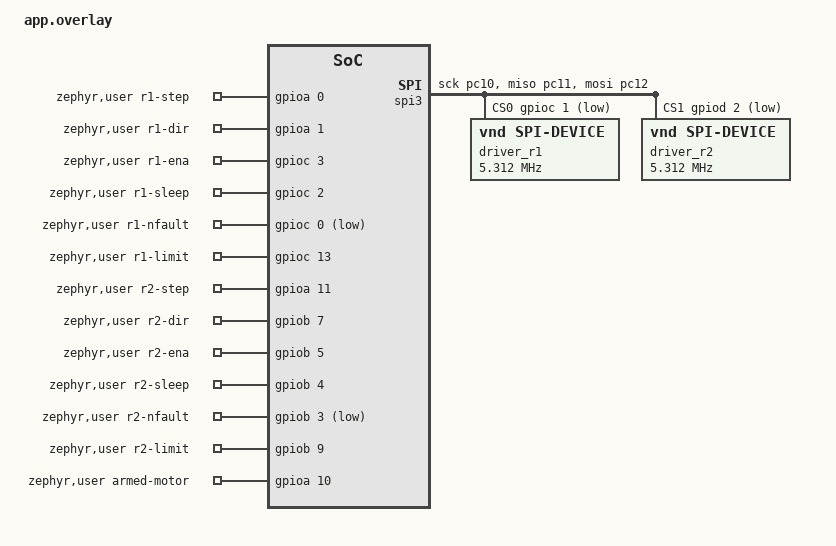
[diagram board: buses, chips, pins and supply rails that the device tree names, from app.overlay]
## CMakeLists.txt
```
cmake_minimum_required(VERSION 3.20)

# also look for boards in xray-f26/boards (where motorboard lives)
list(APPEND BOARD_ROOT ${CMAKE_CURRENT_SOURCE_DIR}/..)

find_package(Zephyr REQUIRED HINTS $ENV{ZEPHYR_BASE})
project(rot_tilt_motor)

target_sources(app PRIVATE
    src/main.c
    src/rot_motor_test.c
)
```

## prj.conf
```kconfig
CONFIG_GPIO=y
CONFIG_SPI=y
CONFIG_CBPRINTF_FP_SUPPORT=y
```

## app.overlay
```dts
/*
 * Motor Board: rotational motors R1 and R2 (pins from MotorBoard.ioc)
 * Testing BOTH motors and BOTH limit switches.
 * Limit switches: HIGH = hit (also HIGH if unplugged, so the motor stops).
 */

/* SPI3 talks to both driver chips. Each driver has its own CS (chip select) pin. */
&spi3 {
    status = "okay";
    pinctrl-0 = <&spi3_sck_pc10 &spi3_miso_pc11 &spi3_mosi_pc12>;
    pinctrl-names = "default";
    cs-gpios = <&gpioc 1 GPIO_ACTIVE_LOW>,    /* CS 0 = R1_CS (PC1) */
               <&gpiod 2 GPIO_ACTIVE_LOW>;    /* CS 1 = R2_CS (PD2) */

    driver_r1: drv8462@0 {
        compatible = "vnd,spi-device";
        reg = <0>;                            /* uses CS 0 */
        spi-max-frequency = <5312500>;
    };

    driver_r2: drv8462@1 {
        compatible = "vnd,spi-device";
        reg = <1>;                            /* uses CS 1 */
        spi-max-frequency = <5312500>;
    };
};

/ {
    zephyr,user {
        /* R1 (tilt) */
        r1-step-gpios   = <&gpioa 0 GPIO_ACTIVE_HIGH>;                   /* PA0  R1_STEP_MCU */
        r1-dir-gpios    = <&gpioa 1 GPIO_ACTIVE_HIGH>;                   /* PA1  R1_DIR */
        r1-ena-gpios    = <&gpioc 3 GPIO_ACTIVE_HIGH>;                   /* PC3  R1_ENABLE */
        r1-sleep-gpios  = <&gpioc 2 GPIO_ACTIVE_HIGH>;                   /* PC2  R1_SLEEP */
        r1-nfault-gpios = <&gpioc 0 (GPIO_ACTIVE_LOW | GPIO_PULL_UP)>;   /* PC0  R1_nFAULT */
        r1-limit-gpios  = <&gpioc 13 (GPIO_ACTIVE_HIGH | GPIO_PULL_UP)>; /* PC13 LIM_R1: HIGH = hit */

        /* R2 (pan) */
        r2-step-gpios   = <&gpioa 11 GPIO_ACTIVE_HIGH>;                  /* PA11 R2_STEP_MCU */
        r2-dir-gpios    = <&gpiob 7 GPIO_ACTIVE_HIGH>;                   /* PB7  R2_DIR */
        r2-ena-gpios    = <&gpiob 5 GPIO_ACTIVE_HIGH>;                   /* PB5  R2_ENABLE */
        r2-sleep-gpios  = <&gpiob 4 GPIO_ACTIVE_HIGH>;                   /* PB4  R2_SLEEP */
        r2-nfault-gpios = <&gpiob 3 (GPIO_ACTIVE_LOW | GPIO_PULL_UP)>;   /* PB3  R2_nFAULT */
        r2-limit-gpios  = <&gpiob 9 (GPIO_ACTIVE_HIGH | GPIO_PULL_UP)>;  /* PB9  LIM_R2: HIGH = hit */

        /* ARMED_MOTOR: driven HIGH at startup */
        armed-motor-gpios = <&gpioa 10 GPIO_ACTIVE_HIGH>;                /* PA10 ARMED_MOTOR */
    };
};
```

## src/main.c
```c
#include <zephyr/kernel.h>
#include <zephyr/drivers/gpio.h>
#include "rot_motors.h"

/*
    TEST: both motors + both limit switches
      R1 spins until LIM_R1 (PC13) reads HIGH -> R1 ENABLE (PC3) goes LOW
      R2 spins until LIM_R2 (PB9)  reads HIGH -> R2 ENABLE (PB5) goes LOW
    Each switch only stops its own motor. Both motors spin at the same time.

    Each switch is watched two ways:
      - an interrupt (stops the motor the instant the pin goes HIGH)
      - a backup check on every step (in case an interrupt is ever missed)

    status LED (PC5):
        on solid   = at least one motor still spinning
        fast blink = both motors stopped (limit hit, or couldn't start)
        slow blink = setup failed
*/
#define R1_AXIS            (&r1_axis)
#define R2_AXIS            (&r2_axis)
#define R1_TOWARD_LIMIT    1        // change to 0 if R1 spins away from its switch
#define R2_TOWARD_LIMIT    1        // change to 0 if R2 spins away from its switch

#define CRUISE_INTERVAL_US 20000    // 50 full steps/s = 15 RPM
#define START_INTERVAL_US  40000    // slower at the very start, then speeds up
#define RAMP_STEPS         15       // steps spent speeding up at the start
#define STEP_PULSE_US      10       // short, clean STEP pulse

#define USER_NODE DT_PATH(zephyr_user)
static const struct gpio_dt_spec armed_motor = GPIO_DT_SPEC_GET(USER_NODE, armed_motor_gpios);
static const struct gpio_dt_spec fw_status_led = GPIO_DT_SPEC_GET(DT_ALIAS(led0), gpios);

/* one callback per switch (they're on different ports: PC13 and PB9) */
static struct gpio_callback r1_limit_cb;
static struct gpio_callback r2_limit_cb;

/* set when a motor should stop (limit hit, or it couldn't start) */
static volatile bool r1_done = false;
static volatile bool r2_done = false;

static void setup_failed(void)
{
    while (true) {                      // slow blink forever = setup failed
        gpio_pin_toggle_dt(&fw_status_led);
        k_msleep(500);
    }
}

/* runs the instant LIM_R1 goes HIGH: stop R1 only */
static void r1_limit_isr(const struct device *port, struct gpio_callback *cb, uint32_t pins)
{
    gpio_pin_set_dt(&R1_AXIS->ena, 0);   // R1 ENABLE (PC3) LOW = R1 driver disabled
    r1_done = true;
}

/* runs the instant LIM_R2 goes HIGH: stop R2 only */
static void r2_limit_isr(const struct device *port, struct gpio_callback *cb, uint32_t pins)
{
    gpio_pin_set_dt(&R2_AXIS->ena, 0);   // R2 ENABLE (PB5) LOW = R2 driver disabled
    r2_done = true;
}

/* hook a limit switch up to its interrupt function */
static void setup_limit(const struct rot_axis *axis, struct gpio_callback *cb,
                        gpio_callback_handler_t isr)
{
    gpio_pin_interrupt_configure_dt(&axis->limit, GPIO_INT_EDGE_TO_ACTIVE);  // fire on LOW -> HIGH
    gpio_init_callback(cb, isr, BIT(axis->limit.pin));
    gpio_add_callback(axis->limit.port, cb);
}

/*
    get one motor ready to spin. returns true if it can move.
    if its switch is already HIGH, or the driver won't turn on, that motor
    just stays still and the other one keeps testing.
*/
static bool start_axis(const struct rot_axis *axis, int dir)
{
    if (gpio_pin_get_dt(&axis->limit) == 1) {
        printk("%s: limit switch already HIGH at startup, not moving\n", axis->name);
        return false;
    }
    if (rot_axis_enable(axis) != 0) {
        printk("%s: failed to enable, not moving\n", axis->name);
        return false;
    }
    gpio_pin_set_dt(&axis->dir, dir);
    return true;
}

/* how long to wait for step i: slow at the start, speeding up to cruise */
static uint32_t step_interval_us(int i)
{
    if (i >= RAMP_STEPS) {
        return CRUISE_INTERVAL_US;
    }
    return START_INTERVAL_US - (START_INTERVAL_US - CRUISE_INTERVAL_US) * i / RAMP_STEPS;
}

int main(void)
{
    gpio_pin_configure_dt(&fw_status_led, GPIO_OUTPUT_INACTIVE);

    // ARMED_MOTOR (PA10) high before anything else
    if (!gpio_is_ready_dt(&armed_motor)) setup_failed();
    gpio_pin_configure_dt(&armed_motor, GPIO_OUTPUT_ACTIVE);
    k_msleep(5);

    // set up both motors' pins (asleep, disabled)
    if (rot_axis_setup(R1_AXIS) != 0) setup_failed();
    if (rot_axis_setup(R2_AXIS) != 0) setup_failed();

    // turn on each motor that can move
    r1_done = !start_axis(R1_AXIS, R1_TOWARD_LIMIT);
    r2_done = !start_axis(R2_AXIS, R2_TOWARD_LIMIT);

    // both limit switches watch for HIGH from now on
    setup_limit(R1_AXIS, &r1_limit_cb, r1_limit_isr);
    setup_limit(R2_AXIS, &r2_limit_cb, r2_limit_isr);

    k_busy_wait(1000);   // DIR settles before the first step
    printk("Spinning until each limit switch reads HIGH...\n");
    gpio_pin_set_dt(&fw_status_led, 1);   // solid on = spinning

    int i = 0;                       // step counter, used for the speed-up ramp
    int r1_steps = 0, r2_steps = 0;
    bool r1_reported = r1_done, r2_reported = r2_done;

    // keep going while at least one motor is still spinning
    while (!r1_done || !r2_done) {
        // backup check: read the switches directly every step too,
        // in case an interrupt is ever missed
        if (!r1_done && gpio_pin_get_dt(&R1_AXIS->limit) == 1) {
            gpio_pin_set_dt(&R1_AXIS->ena, 0);   // R1 ENABLE (PC3) LOW
            r1_done = true;
        }
        if (!r2_done && gpio_pin_get_dt(&R2_AXIS->limit) == 1) {
            gpio_pin_set_dt(&R2_AXIS->ena, 0);   // R2 ENABLE (PB5) LOW
            r2_done = true;
        }

        bool step_r1 = !r1_done;
        bool step_r2 = !r2_done;
        uint32_t interval = step_interval_us(i);

        // one step for each motor that's still going, at the same time
        if (step_r1) gpio_pin_set_dt(&R1_AXIS->step, 1);
        if (step_r2) gpio_pin_set_dt(&R2_AXIS->step, 1);
        k_busy_wait(STEP_PULSE_US);
        gpio_pin_set_dt(&R1_AXIS->step, 0);
        gpio_pin_set_dt(&R2_AXIS->step, 0);
        k_busy_wait(interval - STEP_PULSE_US);

        if (step_r1) r1_steps++;
        if (step_r2) r2_steps++;
        i++;

        // report each limit hit once, outside the interrupt
        if (r1_done && !r1_reported) {
            printk("R1 LIMIT HIT after %d steps: R1 ENABLE is LOW\n", r1_steps);
            r1_reported = true;
        }
        if (r2_done && !r2_reported) {
            printk("R2 LIMIT HIT after %d steps: R2 ENABLE is LOW\n", r2_steps);
            r2_reported = true;
        }
    }

    // backup: make sure both ENABLE pins are LOW
    gpio_pin_set_dt(&R1_AXIS->ena, 0);
    gpio_pin_set_dt(&R2_AXIS->ena, 0);
    printk("Both motors stopped (R1: %d steps, R2: %d steps)\n", r1_steps, r2_steps);

    while (true) {                      // fast blink forever = both stopped
        gpio_pin_toggle_dt(&fw_status_led);
        k_msleep(100);
    }

    return 0;
}
```

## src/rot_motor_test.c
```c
/*
 * rot_motor_test.c - the two rotational motors (R1, R2) on the Motor Board
 *
 * Same structure as motors.c for X/Y/Z on the Main Board:
 *   - SPI is only used at startup, to set up the driver chip (stepping mode,
 *     current, outputs on). It replaces the DIP switches on the DM542T.
 *   - Moving the motor is still STEP / DIR pins, exactly like the DM542T.
 *
 * Currently set to FULL STEPPING (200 steps per rev, 1.8 deg per step).
 */

#include <zephyr/kernel.h>
#include <zephyr/drivers/gpio.h>
#include <zephyr/drivers/spi.h>
#include <math.h>
#include "rot_motors.h"

/*
    step timing:
    pulses must be long enough for the driver to see them
    DIR needs to be set a little before stepping
*/
#define DIR_SETUP_US          1000
#define STEP_PULSE_US         10      // how long STEP stays high each step (short, clean pulse)

/*
    speed limits + acceleration ramp
    every move starts slow, speeds up over RAMP_STEPS, cruises, then slows down
    over the last RAMP_STEPS before stopping. Starting or stopping at full speed
    is what makes a stepper jerk, stall, or skip.

    (full stepping: 200 steps per rev)
      20000 us per step =  50 steps/s = 15 RPM   (start / stop speed)
       8000 us per step = 125 steps/s = 37.5 RPM
       4000 us per step = 250 steps/s = 75 RPM   (fastest allowed)
*/
#define START_INTERVAL_US     20000   // speed at the very start and end of every move
#define MIN_STEP_INTERVAL_US  4000    // max speed cap: anything faster is slowed to this
#define RAMP_STEPS            15      // steps spent speeding up, and again slowing down
#define SETTLE_MS             200     // pause after every move so the motor stops shaking

/* driver registers (same chip and same values as the X/Y/Z drivers) */
#define DRV_REG_FAULT    0x00   // FAULT register, bit 7 = any fault
#define DRV_REG_CTRL1    0x04   // EN_OUT lives in bit 7
#define DRV_REG_CTRL2    0x05   // stepping mode in bits 0-3
#define DRV_REG_CTRL9    0x0C   // EN_AUTO (auto microstepping) in bit 0
#define DRV_REG_CTRL10   0x0D   // ISTSL: holding current
#define DRV_REG_CTRL11   0x0E   // TRQ_DAC: the current dial (0-255)
#define DRV_REG_CTRL12   0x0F   // EN_STSL (bit 7) + TSTSL_FALL (bits 6-3): standstill power saving
#define DRV_REG_CTRL13   0x10   // TSTSL_DLY (bits 7-2) + VREF_INT_EN (bit 1)
#define DRV_READ_BIT     (1u << 14)   // bit 14 = 1 means read

#define CTRL1_DEFAULT    0x0F   // TOFF / DECAY datasheet defaults
#define EN_OUT_BIT       0x80   // turns the motor outputs on inside the chip
#define MICROSTEP_FULL   0x01   // full stepping with 71% current (0x00 = 100% in BOTH coils = much hotter)
#define EN_AUTO_OFF      0x00   // auto microstepping off, so it really does full steps
#define CTRL13_VREF_INT  0x12   // internal 3.3V reference on (bit 1) + TSTSL_DLY = 4 -> 64 ms delay
#define CTRL12_STSL_ON   0x88   // EN_STSL = 1 (bit 7) + TSTSL_FALL = 1 ms per current step (bits 6-3)
#define FAULT_ANY_BIT    0x80

/*
    current for the rotational motors (datasheet 7.3.8 / 7.3.9, internal 3.3 V reference):
        current (A) = 3.3 V x (TRQ_DAC + 1) / 256 / KV
        KV = 0.66 V/A for the DDW package -> 5 A at TRQ_DAC = 255
        KV = 0.33 V/A for the DDV package -> 10 A at TRQ_DAC = 255

    the old 0x80 was ~2.5 A (DDW) or ~5 A (DDV): way above the tilt motor's 1.5 A,
    which is why the motor and driver got hot.

    0x25 = 14.8%  -> ~0.74 A on DDW, ~1.48 A on DDV  (safe on either package)
    !! ask the EE which package is on the board. If it's DDW, raise it to 0x4B (~1.48 A).
*/
#define ROT_TRQ_DAC      0x25

/*
    holding current: once the motor stops, the driver lowers the current to this
    (standstill power saving). 75% of the run current, so the tilt still holds
    the RadEye against gravity. Lower it if the motor holds fine; raise it if it sags.
*/
#define ROT_ISTSL        ((ROT_TRQ_DAC * 3) / 4)

/*
    motor --> 200 full steps per rev, full stepping = 200 steps per rev
    GEAR_RATIO = motor turns per output turn (1.0 = direct drive)
*/
#define FULL_STEPS_PER_REV 200
#define MICROSTEPS         1      // full stepping: 1 pulse = 1 full step = 1.8 deg
#define STEPS_PER_REV      (FULL_STEPS_PER_REV * MICROSTEPS)
#define GEAR_RATIO         1.0
#define STEPS_PER_DEG      (STEPS_PER_REV * GEAR_RATIO / 360.0)   // 0.56 steps per degree

/* SPI settings: 16-bit messages, most significant bit first, mode 1 (same as X/Y/Z) */
#define DRI_SPI_SET (SPI_OP_MODE_MASTER | SPI_WORD_SET(16) | SPI_TRANSFER_MSB | SPI_MODE_CPHA)

/*
GRAB DEM DEVICE TREE OVERLAY!!!! (pins come from app.overlay)
*/
#define USER_NODE DT_PATH(zephyr_user)


/* ---------- talking to the driver over SPI ---------- */

static int drv_write_reg(const struct rot_axis *axis, uint8_t addy, uint8_t value)
{
    // bits 13-8 = register address, bits 7-0 = the value. bits 14 & 15 stay 0 = write
    uint16_t tx = ((addy & 0x3F) << 8) | value;

    struct spi_buf buf = { .buf = &tx, .len = sizeof(tx) };       // one message
    struct spi_buf_set tx_set = { .buffers = &buf, .count = 1 };  // a stack of 1 message

    // Zephyr pulls this driver's CS pin low, clocks out the 16 bits, then lets CS go high
    return spi_write_dt(&axis->spi, &tx_set);
}

static int drv_read_reg(const struct rot_axis *axis, uint8_t addy, uint8_t *value)
{
    // bit 14 = 1 means read, bits 13-8 = address, bits 7-0 = 0
    uint16_t tx = DRV_READ_BIT | ((addy & 0x3F) << 8);
    uint16_t rx = 0;                                              // the driver's reply lands here

    struct spi_buf tx_buf = { .buf = &tx, .len = sizeof(tx) };
    struct spi_buf rx_buf = { .buf = &rx, .len = sizeof(rx) };
    struct spi_buf_set tx_set = { .buffers = &tx_buf, .count = 1 };
    struct spi_buf_set rx_set = { .buffers = &rx_buf, .count = 1 };

    // send and receive at the same time: SPI always swaps bits both ways
    int ret = spi_transceive_dt(&axis->spi, &tx_set, &rx_set);

    *value = rx & 0xFF;   // the register's value is in the bottom 8 bits
    return ret;
}

/* the "DIP switches", but set over SPI */
static int drv_configure(const struct rot_axis *axis)
{
    uint8_t value;

    // full stepping (like setting the DM542T to 200 pulses/rev)
    if (drv_write_reg(axis, DRV_REG_CTRL2, MICROSTEP_FULL) != 0) {
        printk("ERROR! %s failed to set full stepping \n", axis->name);
        return -1;
    }

    // auto microstepping OFF, so the chip really does full steps
    if (drv_write_reg(axis, DRV_REG_CTRL9, EN_AUTO_OFF) != 0) {
        printk("ERROR! %s failed to set CTRL9 \n", axis->name);
        return -1;
    }

    drv_write_reg(axis, DRV_REG_CTRL11, axis->trq_dac);   // moving current (like SW1-SW3)
    drv_write_reg(axis, DRV_REG_CTRL10, ROT_ISTSL);       // lower holding current (like SW4 off)
    drv_write_reg(axis, DRV_REG_CTRL13, CTRL13_VREF_INT); // internal reference + 64 ms standstill delay
    drv_write_reg(axis, DRV_REG_CTRL12, CTRL12_STSL_ON);  // standstill power saving ON:
                                                          // 64 ms after the last step, current drops
                                                          // from TRQ_DAC to ISTSL automatically

    // read the current back AFTER writing it: if it matches, SPI to this driver works
    drv_read_reg(axis, DRV_REG_CTRL11, &value);
    if (value != axis->trq_dac) {
        printk("ERROR! %s current readback 0x%02X (SPI not working?) \n", axis->name, value);
        return -1;
    }

    printk("%s is configured (full stepping, 71%% current, standstill saving on) \n", axis->name);
    return 0;
}


/* ---------- the two motors (pins + SPI from app.overlay) ---------- */

const struct rot_axis r1_axis = {
    .name = "R1",
    .step = GPIO_DT_SPEC_GET(USER_NODE, r1_step_gpios),
    .dir = GPIO_DT_SPEC_GET(USER_NODE, r1_dir_gpios),
    .ena = GPIO_DT_SPEC_GET(USER_NODE, r1_ena_gpios),
    .sleep = GPIO_DT_SPEC_GET(USER_NODE, r1_sleep_gpios),
    .nfault = GPIO_DT_SPEC_GET(USER_NODE, r1_nfault_gpios),
    .limit = GPIO_DT_SPEC_GET(USER_NODE, r1_limit_gpios),
    .spi = SPI_DT_SPEC_GET(DT_NODELABEL(driver_r1), DRI_SPI_SET),
    .trq_dac = ROT_TRQ_DAC,
};

const struct rot_axis r2_axis = {
    .name = "R2",
    .step = GPIO_DT_SPEC_GET(USER_NODE, r2_step_gpios),
    .dir = GPIO_DT_SPEC_GET(USER_NODE, r2_dir_gpios),
    .ena = GPIO_DT_SPEC_GET(USER_NODE, r2_ena_gpios),
    .sleep = GPIO_DT_SPEC_GET(USER_NODE, r2_sleep_gpios),
    .nfault = GPIO_DT_SPEC_GET(USER_NODE, r2_nfault_gpios),
    .limit = GPIO_DT_SPEC_GET(USER_NODE, r2_limit_gpios),
    .spi = SPI_DT_SPEC_GET(DT_NODELABEL(driver_r2), DRI_SPI_SET),
    .trq_dac = ROT_TRQ_DAC,
};


/* ---------- pin setup ---------- */

int rot_axis_setup(const struct rot_axis *axis)
{
    if (!gpio_is_ready_dt(&axis->step) ||
        !gpio_is_ready_dt(&axis->dir) ||
        !gpio_is_ready_dt(&axis->ena) ||
        !gpio_is_ready_dt(&axis->sleep) ||
        !gpio_is_ready_dt(&axis->nfault) ||
        !gpio_is_ready_dt(&axis->limit)) {
        printk("ERROR! %s GPIO PORT IS NOT READY\n", axis->name);
        return -1;
    }

    if (!spi_is_ready_dt(&axis->spi)) {
        printk("ERROR! %s SPI PORT IS NOT READY\n", axis->name);
        return -1;
    }

    // outputs start OFF (asleep, disabled, no step)
    gpio_pin_configure_dt(&axis->step, GPIO_OUTPUT_INACTIVE);
    gpio_pin_configure_dt(&axis->dir, GPIO_OUTPUT_INACTIVE);
    gpio_pin_configure_dt(&axis->ena, GPIO_OUTPUT_INACTIVE);
    gpio_pin_configure_dt(&axis->sleep, GPIO_OUTPUT_INACTIVE);

    // inputs: fault from the driver, limit switch
    gpio_pin_configure_dt(&axis->nfault, GPIO_INPUT);
    gpio_pin_configure_dt(&axis->limit, GPIO_INPUT);

    printk("%s is ready \n", axis->name);
    return 0;
}


/* ---------- wake up + configure + turn on ---------- */

int rot_axis_enable(const struct rot_axis *axis)
{
    uint8_t value;

    gpio_pin_set_dt(&axis->sleep, 1);   // WAKE UPPP
    k_msleep(2);                        // give the chip time to wake before SPI

    if (drv_configure(axis) != 0) {
        printk("ERROR! %s failed to configure \n", axis->name);
        return -1;
    }

    // nFAULT is active low, so 1 here means FAULT
    if (gpio_pin_get_dt(&axis->nfault) == 1) {
        printk("ERROR! %s has a fault \n", axis->name);
        return -1;
    }

    drv_write_reg(axis, DRV_REG_CTRL1, EN_OUT_BIT | CTRL1_DEFAULT);   // outputs on inside the chip
    gpio_pin_set_dt(&axis->ena, 1);                                  // and the physical ENABLE pin

    // read everything back to make sure the driver really took the settings
    drv_read_reg(axis, DRV_REG_CTRL1, &value);
    if (value != (EN_OUT_BIT | CTRL1_DEFAULT)) {
        printk("ERROR! %s CTRL1 readback 0x%02X \n", axis->name, value);
        return -1;
    }
    drv_read_reg(axis, DRV_REG_CTRL11, &value);
    if (value != axis->trq_dac) {
        printk("ERROR! %s current readback 0x%02X \n", axis->name, value);
        return -1;
    }
    drv_read_reg(axis, DRV_REG_CTRL13, &value);
    if (value != CTRL13_VREF_INT) {
        printk("ERROR! %s CTRL13 readback 0x%02X \n", axis->name, value);
        return -1;
    }
    drv_read_reg(axis, DRV_REG_FAULT, &value);
    if (value & FAULT_ANY_BIT) {
        printk("ERROR! %s FAULT register 0x%02X \n", axis->name, value);
        return -1;
    }

    printk("%s is enabled \n", axis->name);
    return 0;
}


/* ---------- full low-power: sleep ---------- */

/*
    turns the motor completely OFF: outputs off, driver asleep (uses ~3 uA).
    !! the motor no longer holds its position. On the tilt axis, gravity can
    !! swing the RadEye down, so only use this when the axis is parked/supported.
    call rot_axis_enable() again to wake it up (it re-sends all the settings).
*/
void rot_axis_sleep(const struct rot_axis *axis)
{
    gpio_pin_set_dt(&axis->ena, 0);     // ENABLE pin off
    gpio_pin_set_dt(&axis->sleep, 0);   // nSLEEP low = sleep mode
    printk("%s is asleep \n", axis->name);
}


/* ---------- moving ---------- */

/*
    how long to wait for step number i out of total steps.
    near the start and end of the move it's slower (bigger interval),
    in the middle it's the cruise speed you asked for.
*/
static uint32_t ramp_interval_us(int i, int total, uint32_t cruise_us)
{
    int from_edge = MIN(i, total - 1 - i);   // how many steps from the nearest end of the move

    if (cruise_us >= START_INTERVAL_US || from_edge >= RAMP_STEPS) {
        return cruise_us;                    // already slow, or in the middle: cruise speed
    }

    // slide from START_INTERVAL_US (slow) down to cruise_us (fast) over RAMP_STEPS
    return START_INTERVAL_US - (START_INTERVAL_US - cruise_us) * from_edge / RAMP_STEPS;
}

// steps = how many steps, dir = 1 or 0, step_interval_us = cruise time per step (bigger = slower)
int rot_axis_move(const struct rot_axis *axis, int steps, int dir, uint32_t step_interval_us)
{
    // max speed cap: never go faster than MIN_STEP_INTERVAL_US per step
    if (step_interval_us < MIN_STEP_INTERVAL_US) {
        printk("%s: %u us per step is too fast, using %u us\n",
               axis->name, step_interval_us, MIN_STEP_INTERVAL_US);
        step_interval_us = MIN_STEP_INTERVAL_US;
    }

    // set the direction while the motor is stopped, then wait before the first step
    gpio_pin_set_dt(&axis->dir, dir);
    k_busy_wait(DIR_SETUP_US);

    for (int i = 0; i < steps; i++) {
        uint32_t interval = ramp_interval_us(i, steps, step_interval_us);

        gpio_pin_set_dt(&axis->step, 1);              // short, clean pulse
        k_busy_wait(STEP_PULSE_US);
        gpio_pin_set_dt(&axis->step, 0);
        k_busy_wait(interval - STEP_PULSE_US);        // rest of the step time
    }

    // let the motor fully stop and stop shaking before anything else happens
    // (most important before a direction change)
    k_msleep(SETTLE_MS);

    return steps;
}

// same as rot_axis_move, but in degrees. + is one way, - is the other
int rot_axis_move_deg(const struct rot_axis *axis, double degrees, uint32_t step_interval_us)
{
    int steps = (int)(fabs(degrees) * STEPS_PER_DEG + 0.5);   // degrees -> steps, rounded
    int dir = (degrees >= 0) ? 1 : 0;

    return rot_axis_move(axis, steps, dir, step_interval_us);
}
```

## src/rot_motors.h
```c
#ifndef ROT_MOTORS_H
#define ROT_MOTORS_H

#include <zephyr/drivers/gpio.h>
#include <zephyr/drivers/spi.h>

/* what is in each rotational motor (same idea as struct axis in motors.h) */
struct rot_axis {
    const char *name;
    struct gpio_dt_spec step;
    struct gpio_dt_spec dir;
    struct gpio_dt_spec ena;
    struct gpio_dt_spec sleep;
    struct gpio_dt_spec nfault;
    struct gpio_dt_spec limit;
    struct spi_dt_spec  spi;     /* SPI type, not GPIO! */
    uint8_t trq_dac;             /* current dial for THIS motor (0-255), see rot_motors.c */
};

/* the two rotational motors on the Motor Board */
extern const struct rot_axis r1_axis;
extern const struct rot_axis r2_axis;

int rot_axis_setup(const struct rot_axis *axis);

int rot_axis_enable(const struct rot_axis *axis);

int rot_axis_move(const struct rot_axis *axis, int steps, int dir, uint32_t step_interval_us);

int rot_axis_move_deg(const struct rot_axis *axis, double degrees, uint32_t step_interval_us);

#endif
```
